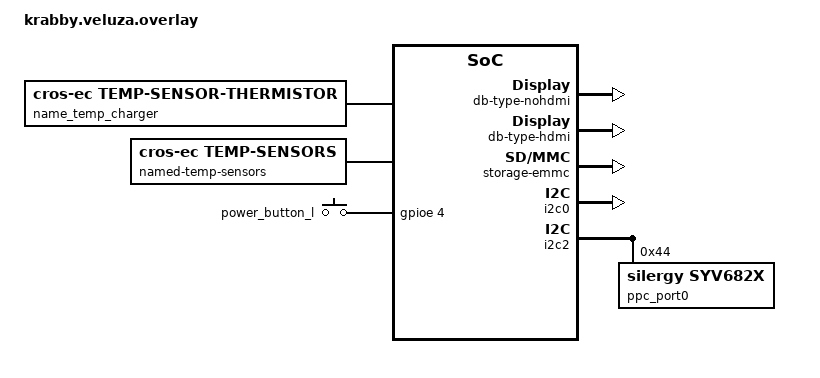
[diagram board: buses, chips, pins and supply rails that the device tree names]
/* Copyright 2024 The ChromiumOS Authors
 * Use of this source code is governed by a BSD-style license that can be
 * found in the LICENSE file.
 */

#include "common.dtsi"
#include "../program/corsola/ite_gpio.dtsi"
#include "../program/corsola/ite_interrupts.dtsi"
#include "../program/corsola/veluza/thermistor.dtsi"
#include "../program/corsola/ite_motionsense.dtsi"


/* remove pinctrl to avoid pull in too many unwanted dependency */
/delete-node/ &pinctrl;

/delete-node/ &int_usb_c0_ppc_bc12;

/delete-node/ &int_volume_up;

/delete-node/ &int_volume_down;

/delete-node/ &int_tablet_mode;

/delete-node/ &{/hibernate-wake-pins};

/*
 * The unused-pins functionality is not currently tested. Remove
 * to avoid mismatches in the GPIO flags configuration.
 */
/delete-node/ &{/unused-pins};

/ {
	aliases {
		/*
		 * motion sense's <>_INT_EVENT is handled
		 * by alias. Using the alias, each driver creates
		 * its own <>_INT_EVENT.
		 */
		bmi3xx-int = &base_accel;
		bma4xx-int = &lid_accel;
	};
	veluza-fw-config {
		compatible = "cros-ec,cbi-fw-config";
		/*
		 * FW_CONFIG field to defined for STYLUS TYPE.
		 */
		stylus {
			enum-name = "FW_STYLUS";
			start = <0>;
			size = <1>;

			stylus-absent {
				compatible = "cros-ec,cbi-fw-config-value";
				enum-name = "FW_STYLUS_ABSENT";
				value = <0>;
			};
			stylus-present {
				compatible = "cros-ec,cbi-fw-config-value";
				enum-name = "FW_STYLUS_PRESENT";
				value = <1>;
			};
		};

		/*
		 * FW_CONFIG field to defined for FORM FACTOR TYPE.
		 */
		form-factor {
			enum-name = "FW_FORM_FACTOR";
			start = <1>;
			size = <1>;

			form-factor-clamshell {
				compatible = "cros-ec,cbi-fw-config-value";
				enum-name = "FW_FORM_FACTOR_CLAMSHELL";
				value = <0>;
			};
			form-factor-convertible {
				compatible = "cros-ec,cbi-fw-config-value";
				enum-name = "FW_FORM_FACTOR_CONVERTIBLE";
				value = <1>;
			};
		};

		/*
		 * FW_CONFIG field to defined for DB TYPE.
		 */
		db_config: db {
			enum-name = "DB";
			start = <2>;
			size = <1>;

			db-type-nohdmi {
				compatible = "cros-ec,cbi-fw-config-value";
				enum-name = "DB_NONE";
				value = <0>;
			};
			db-type-hdmi {
				compatible = "cros-ec,cbi-fw-config-value";
				enum-name = "DB_USBA_HDMI";
				value = <1>;
			};
		};

		/*
		 * FW_CONFIG field to defined for AMP TYPE.
		 */
		amp {
			enum-name = "FW_AMP";
			start = <28>;
			size = <2>;

			amp-alc5682i {
				compatible = "cros-ec,cbi-fw-config-value";
				enum-name = "FW_AMP_ALC5682I";
				value = <0>;
			};
		};

		/*
		 * FW_CONFIG field to defined for STORAGE TYPE.
		 */
		storage {
			enum-name = "FW_STORAGE";
			start = <30>;
			size = <2>;

			storage-emmc {
				compatible = "cros-ec,cbi-fw-config-value";
				enum-name = "FW_STORAGE_EMMC";
				value = <0>;
			};
			storage-nvme {
				compatible = "cros-ec,cbi-fw-config-value";
				enum-name = "FW_STORAGE_NVME";
				value = <1>;
			};
			storage-ufs {
				compatible = "cros-ec,cbi-fw-config-value";
				enum-name = "FW_STORAGE_UFS";
				value = <2>;
			};
		};
	};
	name_temp_charger: charger {
		compatible = "cros-ec,temp-sensor-thermistor";

		thermistor = <&thermistor_rt9490>;
		adc = <&adc_charger>;
	};

	named-temp-sensors {
		compatible = "cros-ec,temp-sensors";
		temp_charger: charger {
			status = "okay";
			sensor = <&name_temp_charger>;
		};
	};
	motionsense-mutex {
		base_mutex_bmi323: bmi323-mutex {
		};

		lid_mutex_bma422: bma422-mutex {
		};
	};
	motionsense-rotation-ref {
		lid_rot_ref_bma422: lid-rotation-ref-bma422 {
			mat33 = <0 1 0
				 1 0 0
				 0 0 (-1)>;
		};

		base_rot_ref_bmi323: base-rotation-ref-bmi323 {
			mat33 = <0 1 0
				 (-1) 0 0
				 0 0 1>;
		};
	};
	motionsense-sensor-data {
		bmi323_data: bmi323-drv-data {
			compatible = "cros-ec,drvdata-bmi3xx";
			status = "okay";
		};

		bma422_data: bma422-drv-data {
			compatible = "cros-ec,drvdata-bma4xx";
			status = "okay";
		};
	};
	motionsense-sensor-info {
		compatible = "cros-ec,motionsense-sensor-info";

		/*
		 * list of GPIO interrupts that have to
		 * be enabled at initial stage
		 */
		sensor-irqs = <&int_base_imu &int_lid_imu>;
	};
	motionsense-sensor {
		/delete-node/ lid_accel;
		/delete-node/ base-accel;
		/delete-node/ base-gyro;
		lid_accel: lid-accel {
			compatible = "cros-ec,bma4xx";
			status = "okay";

			active-mask = "SENSOR_ACTIVE_S0_S3";
			location = "MOTIONSENSE_LOC_LID";
			mutex = <&lid_mutex_bma422>;
			port = <&i2c_sensor>;
			rot-standard-ref = <&lid_rot_ref_bma422>;
			default-range = <2>;
			drv-data = <&bma422_data>;
			i2c-spi-addr-flags = "BMA4_I2C_ADDR_PRIMARY";
			configs {
				compatible =
					"cros-ec,motionsense-sensor-config";
				ec-s0 {
					odr = <(10000 | ROUND_UP_FLAG)>;
				};
				ec-s3 {
					odr = <(10000 | ROUND_UP_FLAG)>;
				};
			};
		};

		base_accel: base-accel {
			compatible = "cros-ec,bmi3xx-accel";
			status = "okay";

			active-mask = "SENSOR_ACTIVE_S0_S3";
			location = "MOTIONSENSE_LOC_BASE";
			mutex = <&base_mutex>;
			port = <&i2c_sensor>;
			rot-standard-ref = <&base_rot_ref>;
			drv-data = <&bmi323_data>;
			configs {
				compatible =
					"cros-ec,motionsense-sensor-config";
				ec-s0 {
					odr = <(10000 | ROUND_UP_FLAG)>;
				};
				ec-s3 {
					odr = <(10000 | ROUND_UP_FLAG)>;
				};
			};
		};

		base_gyro: base-gyro {
			compatible = "cros-ec,bmi3xx-gyro";
			status = "okay";

			active-mask = "SENSOR_ACTIVE_S0_S3";
			location = "MOTIONSENSE_LOC_BASE";
			mutex = <&base_mutex>;
			port = <&i2c_sensor>;
			rot-standard-ref = <&base_rot_ref>;
			drv-data = <&bmi323_data>;
		};
	};
	named-gpios {
		/delete-node/ usb_c0_ppc_bc12_int_odl;
		base_imu_int_l: base_imu_int_l {
			gpios = <&gpiom 3 (GPIO_INPUT | GPIO_VOLTAGE_1P8)>;
		};
		lid_accel_int_l: lid_accel_int_l {
			gpios = <&gpiom 2 (GPIO_INPUT | GPIO_VOLTAGE_1P8)>;
		};
		usb_c0_ppc_int_odl: usb_c0_ppc_int_odl {
			gpios = <&gpiod 1 GPIO_INPUT>;
			enum-name = "GPIO_USB_C0_PPC_INT_ODL";
		};
		tablet_mode_l: tablet_mode_l {
			gpios = <&gpioj 7 GPIO_INPUT>;
			enum-name = "GPIO_TABLET_MODE_L";
		};
		/delete-node/ usb_c0_ppc_frsinfo;

		usb_c0_frs_en: usb_c0_frs_en {
			gpios = <&gpiof 0 GPIO_OUTPUT_LOW>;
			enum-name = "GPIO_USB_C0_FRS_EN";
		};
	};

	named-i2c-ports {
	    compatible = "named-i2c-ports";

	    i2c_sensor: i2c-sensor {
		    i2c-port = <&i2c0>;
		    enum-names = "I2C_PORT_SENSOR";
	    };
	    i2c_eeprom: i2c-eeprom {
		    i2c-port = <&i2c0>;
		    enum-names = "I2C_PORT_EEPROM";
	    };
	};

	gpio-interrupts {
		/delete-node/ base_imu;
		/delete-node/ lid_imu;
		int_base_imu: base_imu {
			irq-pin = <&base_imu_int_l>;
			flags = <GPIO_INT_EDGE_FALLING>;
			handler = "base_sensor_interrupt";
		};
		int_lid_imu: lid_imu {
			irq-pin = <&lid_accel_int_l>;
			flags = <GPIO_INT_EDGE_FALLING>;
			handler = "lid_sensor_interrupt";
		};
		int_usb_c0_ppc: usb_c0_ppc {
			irq-pin = <&usb_c0_ppc_int_odl>;
			flags = <GPIO_INT_EDGE_FALLING>;
			handler = "ppc_interrupt";
		};
		int_tablet_mode: tablet_mode {
			irq-pin = <&tablet_mode_l>;
			flags = <GPIO_INT_EDGE_BOTH>;
			handler = "gmr_tablet_switch_isr";
		};
		int_x_ec_gpio2: x_ec_gpio2 {
			/* We have bypassed the db detection, so link
			 * int_x_ec_gpio2 to ppc_interrupt directly.
			 */
			handler = "ppc_interrupt";
		};
	};

	usbc {
		port0@0 {
			ppc_alt = <&ppc_port0>;
		};
		/delete-node/ port1@1;
	};
};

/* open-drain is not supported in gpio emul, re-config to push-pull  */
&ec_pmic_en_odl {
	gpios = <&gpiod 0 (GPIO_OUTPUT_HIGH | GPIO_INPUT | GPIO_VOLTAGE_1P8)>;
};
&sys_rst_odl {
	gpios = <&gpiog 1 GPIO_OUTPUT_LOW>;
};
&gpio_ec_bl_en_od {
	gpios = <&gpiob 5 (GPIO_OUTPUT_LOW | GPIO_INPUT | GPIO_VOLTAGE_1P8)>;
};
&ec_int_l {
	gpios = <&gpioe 6 (GPIO_OUTPUT_HIGH | GPIO_INPUT | GPIO_VOLTAGE_1P8)>;
};
&ec_ap_dp_hpd_odl {
	gpios = <&gpioj 0 (GPIO_OUTPUT_HIGH | GPIO_INPUT | GPIO_VOLTAGE_1P8)>;
};
&en_ec_id_odl {
	gpios = <&gpioh 5 (GPIO_OUTPUT_HIGH | GPIO_INPUT)>;
};

/* set default gpio-emul state */
&power_button_l {
	gpios = <&gpioe 4 (GPIO_INPUT | GPIO_PULL_UP)>;
};

&i2c0 {
	status="okay";

	/delete-node/ pi3usb9201_emul0;

	/delete-node/ ppc0_emul;

	/delete-node/ ppc1_emul;

	/delete-node/ rt1718s_emul;

	/delete-node/ ppc_port1;

	/delete-node/ bc12_ppc_port0;
};

&i2c2 {
	status="okay";

	ppc_port0: syv682x@44 {
		compatible = "silergy,syv682x", "cros,i2c-mock";
		status = "okay";
		reg = <0x44>;
	};
};

&i2c4 {
	/delete-node/ tusb1064-mux-1@44;

	/delete-node/ ps8743_mux_1;
};
